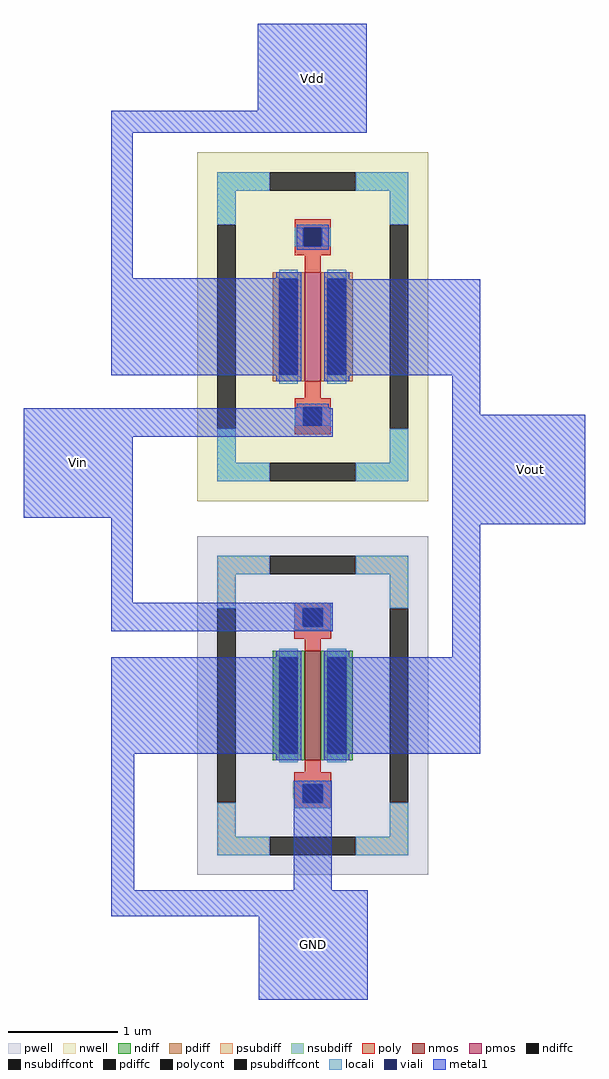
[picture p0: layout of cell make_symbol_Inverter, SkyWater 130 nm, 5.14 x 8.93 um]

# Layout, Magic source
magic
tech sky130A
magscale 1 2
<< metal1 >>
rect 60 1956 260 2116
rect -208 1916 260 1956
rect -208 1650 -168 1916
rect -208 1472 136 1650
rect 188 1472 468 1648
rect -368 1360 198 1412
rect 416 1400 468 1472
rect -368 1212 -168 1360
rect -208 1056 -168 1212
rect 416 1200 660 1400
rect -208 1004 198 1056
rect 416 956 468 1200
rect -208 780 134 956
rect 188 780 468 956
rect -208 530 -166 780
rect 126 530 196 730
rect -208 482 262 530
rect 62 330 262 482
use sky130_fd_pr__pfet_01v8_XGS3BL  XM1
transform 1 0 161 0 1 1561
box -211 -319 211 319
use sky130_fd_pr__nfet_01v8_648S5X  XM2
transform 1 0 161 0 1 868
box -211 -310 211 310
<< labels >>
flabel metal1 60 1916 260 2116 0 FreeSans 256 0 0 0 Vdd
port 0 nsew
flabel metal1 62 330 262 530 0 FreeSans 256 0 0 0 GND
port 3 nsew
flabel metal1 460 1200 660 1400 0 FreeSans 256 0 0 0 Vout
port 2 nsew
flabel metal1 -368 1212 -168 1412 0 FreeSans 256 0 0 0 Vin
port 1 nsew
<< end >>

# cell sky130_fd_pr__pfet_01v8_XGS3BL: kit device sky130_fd_pr__pfet_01v8, w 1.0 l 0.15 m 1 nf 1 diffcov 100 polycov 100 guard 1 glc 1 grc 1 gtc 1 gbc 1 tbcov 100 rlcov 100 topc 1 botc 1 poverlap 0 doverlap 1 lmin 0.15 wmin 0.42 compatible {sky130_fd_pr__pfet_01v8 sky130_fd_pr__pfet_01v8_lvt sky130_fd_pr__pfet_01v8_hvt sky130_fd_pr__pfet_g5v0d10v5} full_metal 1 viasrc 100 viadrn 100 viagate 100 viagb 0 viagr 0 viagl 0 viagt 0

# cell sky130_fd_pr__nfet_01v8_648S5X: kit device sky130_fd_pr__nfet_01v8, w 1.0 l 0.15 m 1 nf 1 diffcov 100 polycov 100 guard 1 glc 1 grc 1 gtc 1 gbc 1 tbcov 100 rlcov 100 topc 1 botc 1 poverlap 0 doverlap 1 lmin 0.15 wmin 0.42 compatible {sky130_fd_pr__nfet_01v8 sky130_fd_pr__nfet_01v8_lvt sky130_fd_bs_flash__special_sonosfet_star sky130_fd_pr__nfet_g5v0d10v5 sky130_fd_pr__nfet_05v0_nvt sky130_fd_pr__nfet_03v3_nvt} full_metal 1 viasrc 100 viadrn 100 viagate 100 viagb 0 viagr 0 viagl 0 viagt 0
